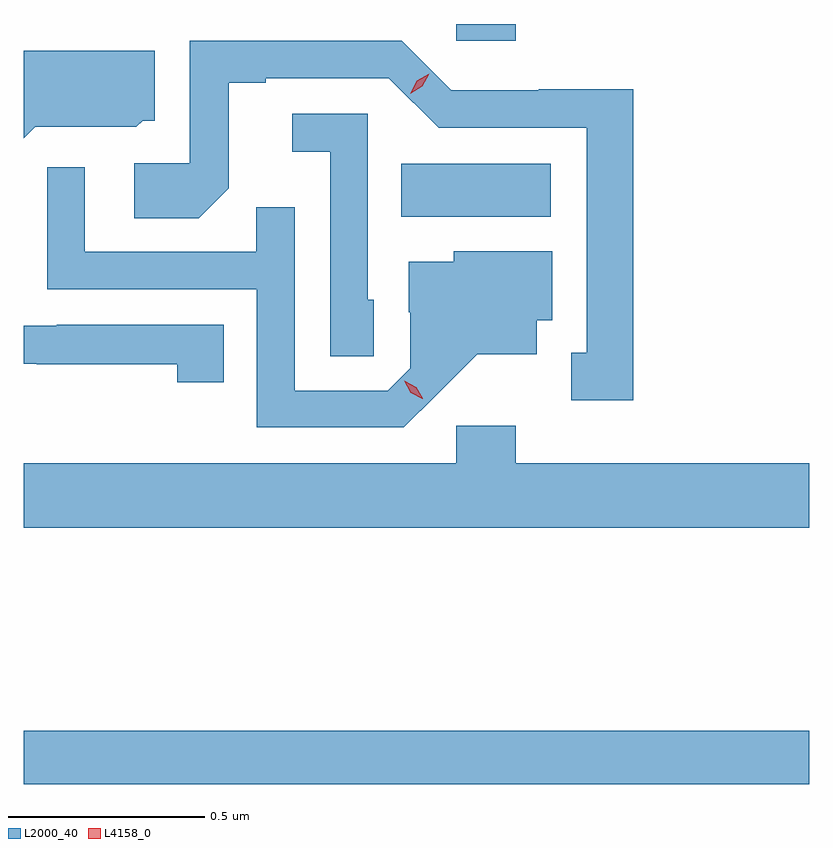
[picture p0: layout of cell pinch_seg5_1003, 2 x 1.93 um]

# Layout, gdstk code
import gdstk
lib = gdstk.Library(unit=1e-6, precision=1e-09)
def R(c, l, rs):  # rectangles x0, y0, x1, y1
    for r in rs: c.add(gdstk.rectangle(r[:2], r[2:], *l))
def P(c, l, *ps):  # polygons
    for p in ps: c.add(gdstk.Polygon(p, *l))
L2000_40 = (2000, 40)
L4158_0 = (4158, 0)

pinch_seg5_1003 = lib.new_cell('pinch_seg5_1003')
R(pinch_seg5_1003, L2000_40, [(746.463,878.752,748.463,878.888), (747.424,880.196,747.805,880.33), (747.564,880.643,747.716,880.686)])
P(pinch_seg5_1003, L2000_40, [(748.015,880.52),(747.774,880.52),(747.774,880.518),(747.552,880.518),(747.426,880.644),(746.886,880.644),(746.886,880.332),(746.745,880.332),(746.745,880.192),(746.909,880.192),(746.985,880.268),(746.985,880.536),(747.079,880.536),(747.079,880.548),(747.393,880.548),(747.519,880.422),(747.896,880.422),(747.896,879.849),(747.857,879.849),(747.857,879.729),(748.015,879.729)],
  [(746.493,880.425),(746.616,880.425),(746.616,880.424),(746.75,880.424),(746.766,880.44),(746.797,880.44),(746.797,880.618),(746.463,880.618),(746.463,880.395)],
  [(747.354,879.984),(747.339,879.984),(747.339,880.458),(747.147,880.458),(747.147,880.361),(747.243,880.361),(747.243,879.841),(747.354,879.841)],
  [(747.514,879.743),(747.617,879.845),(747.769,879.845),(747.769,879.932),(747.808,879.932),(747.808,880.108),(747.558,880.108),(747.558,880.081),(747.443,880.081),(747.443,879.952),(747.447,879.952),(747.447,879.81),(747.39,879.753),(747.153,879.753),(747.153,880.22),(747.055,880.22),(747.055,880.107),(746.619,880.107),(746.619,880.321),(746.523,880.321),(746.523,880.011),(747.057,880.011),(747.057,879.66),(747.43,879.66)],
  [(746.972,879.921),(746.548,879.921),(746.548,879.918),(746.463,879.918),(746.463,879.821),(746.497,879.821),(746.497,879.82),(746.854,879.82),(746.854,879.774),(746.972,879.774)],
  [(748.463,879.568),(747.716,879.568),(747.716,879.664),(747.564,879.664),(747.564,879.568),(746.463,879.568),(746.463,879.404),(748.463,879.404)])
P(pinch_seg5_1003, L4158_0, [(747.447,880.508),(747.447,880.508),(747.464,880.541),(747.495,880.56),(747.495,880.56),(747.495,880.56),(747.478,880.527),(747.447,880.508)],
  [(747.478,879.732),(747.448,879.748),(747.432,879.778),(747.432,879.778),(747.432,879.778),(747.462,879.762),(747.479,879.733),(747.479,879.732)])

lib.write_gds('pinch_seg5_1003.gds')
